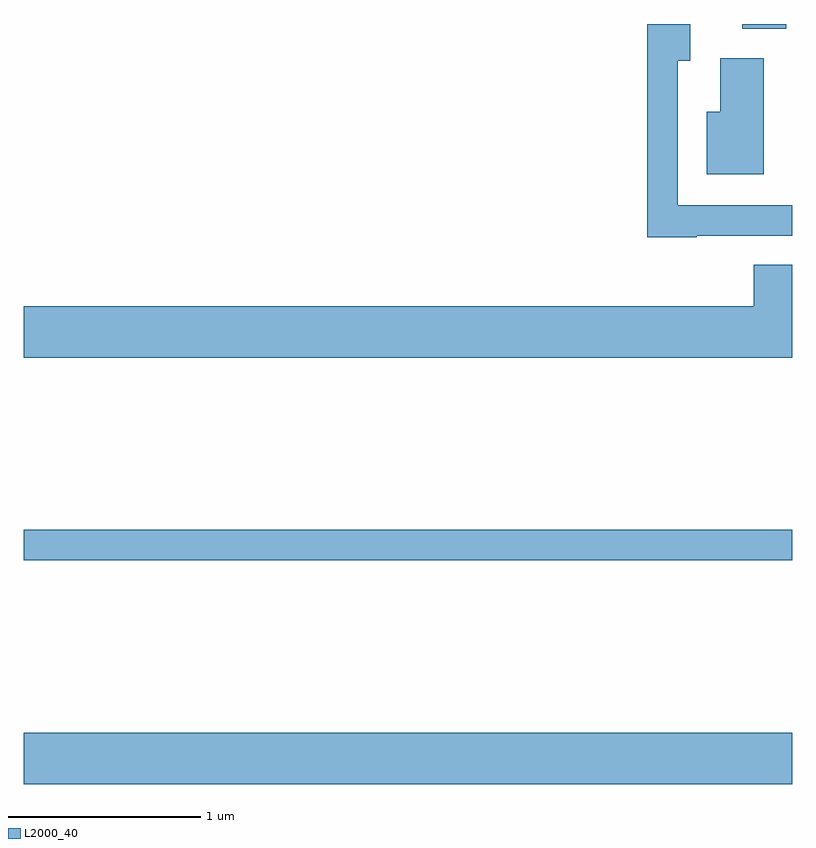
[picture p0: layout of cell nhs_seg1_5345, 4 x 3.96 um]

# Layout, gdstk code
import gdstk
lib = gdstk.Library(unit=1e-6, precision=1e-09)
def R(c, l, rs):  # rectangles x0, y0, x1, y1
    for r in rs: c.add(gdstk.rectangle(r[:2], r[2:], *l))
def P(c, l, *ps):  # polygons
    for p in ps: c.add(gdstk.Polygon(p, *l))
L2000_40 = (2000, 40)

nhs_seg1_5345 = lib.new_cell('nhs_seg1_5345')
R(nhs_seg1_5345, L2000_40, [(345.611,941.756,349.611,942.024), (345.611,942.921,349.611,943.079), (349.351,945.686,349.579,945.712)])
P(nhs_seg1_5345, L2000_40, [(349.115,944.611),(349.611,944.611),(349.611,944.769),(349.014,944.769),(349.014,945.521),(349.079,945.521),(349.079,945.712),(348.856,945.712),(348.856,944.601),(349.115,944.601)],
  [(349.464,945.534),(349.236,945.534),(349.236,945.254),(349.166,945.254),(349.166,944.931),(349.464,944.931)],
  [(349.611,944.459),(349.411,944.459),(349.411,944.244),(345.611,944.244),(345.611,943.976),(349.611,943.976)])

lib.write_gds('nhs_seg1_5345.gds')
